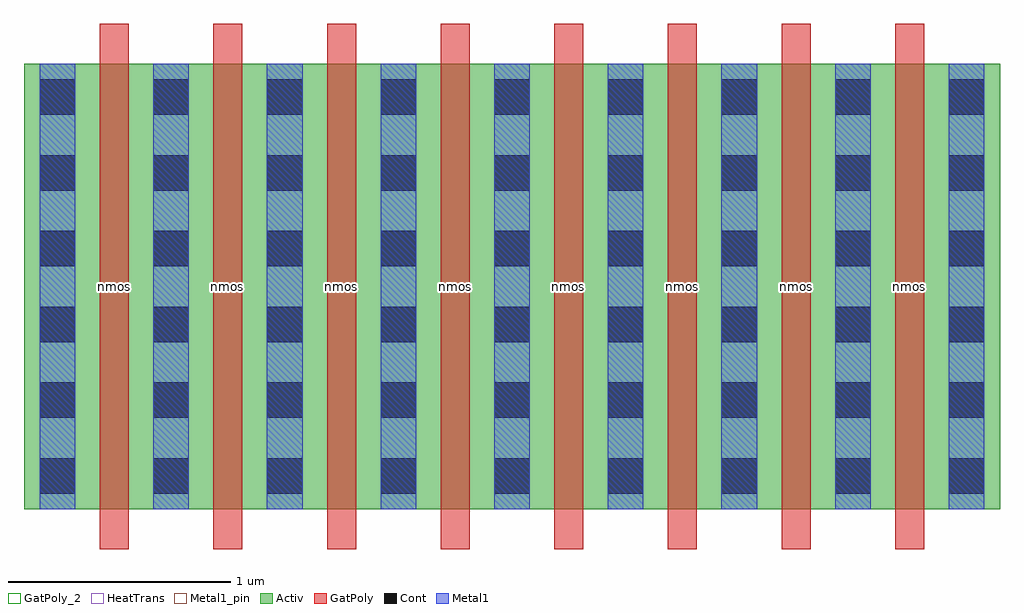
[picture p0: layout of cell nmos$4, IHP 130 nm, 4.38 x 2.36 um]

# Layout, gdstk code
import gdstk
lib = gdstk.Library(unit=1e-6, precision=1e-09)
def R(c, l, rs):  # rectangles x0, y0, x1, y1
    for r in rs: c.add(gdstk.rectangle(r[:2], r[2:], *l))
def A(c, l, x, y, w, h, nx, ny, dx, dy):  # array of equal rectangles
    R(c, l, [(x+i*dx, y+j*dy, x+i*dx+w, y+j*dy+h) for i in range(nx) for j in range(ny)])
Activ = (1, 0)
GatPoly = (5, 0)
GatPoly_2 = (5, 2)
Cont = (6, 0)
Metal1 = (8, 0)
Metal1_pin = (8, 2)
HeatTrans = (51, 0)

nmos_4 = lib.new_cell('nmos$4')
A(nmos_4, Activ, 0, 0, 0.3, 0.3, 9, 1, 0.51, 0)
R(nmos_4, Activ, [(0,0,4.38,2)])
A(nmos_4, GatPoly, 0.34, -0.18, 0.13, 2.36, 8, 1, 0.51, 0)
R(nmos_4, GatPoly_2, [(0.34,-0.18,0.47,2.18)])
A(nmos_4, Cont, 0.07, 0.07, 0.16, 0.16, 9, 6, 0.51, 0.34)
A(nmos_4, Metal1, 0.07, 0, 0.16, 2, 9, 1, 0.51, 0)
R(nmos_4, Metal1_pin, [(0.07,0,0.23,2), (0.58,0,0.74,2)])
A(nmos_4, HeatTrans, 0.34, -0.18, 0.13, 2.36, 8, 1, 0.51, 0)
nmos_4.add(gdstk.Label('nmos', (0.405,1), layer=63, texttype=0))
nmos_4.add(gdstk.Label('nmos', (0.405,1), layer=51, texttype=0))
nmos_4.add(gdstk.Label('nmos', (0.915,1), layer=51, texttype=0))
nmos_4.add(gdstk.Label('nmos', (1.425,1), layer=51, texttype=0))
nmos_4.add(gdstk.Label('nmos', (1.935,1), layer=51, texttype=0))
nmos_4.add(gdstk.Label('nmos', (2.445,1), layer=51, texttype=0))
nmos_4.add(gdstk.Label('nmos', (2.955,1), layer=51, texttype=0))
nmos_4.add(gdstk.Label('nmos', (3.465,1), layer=51, texttype=0))
nmos_4.add(gdstk.Label('nmos', (3.975,1), layer=51, texttype=0))

lib.write_gds('nmos_4.gds')
